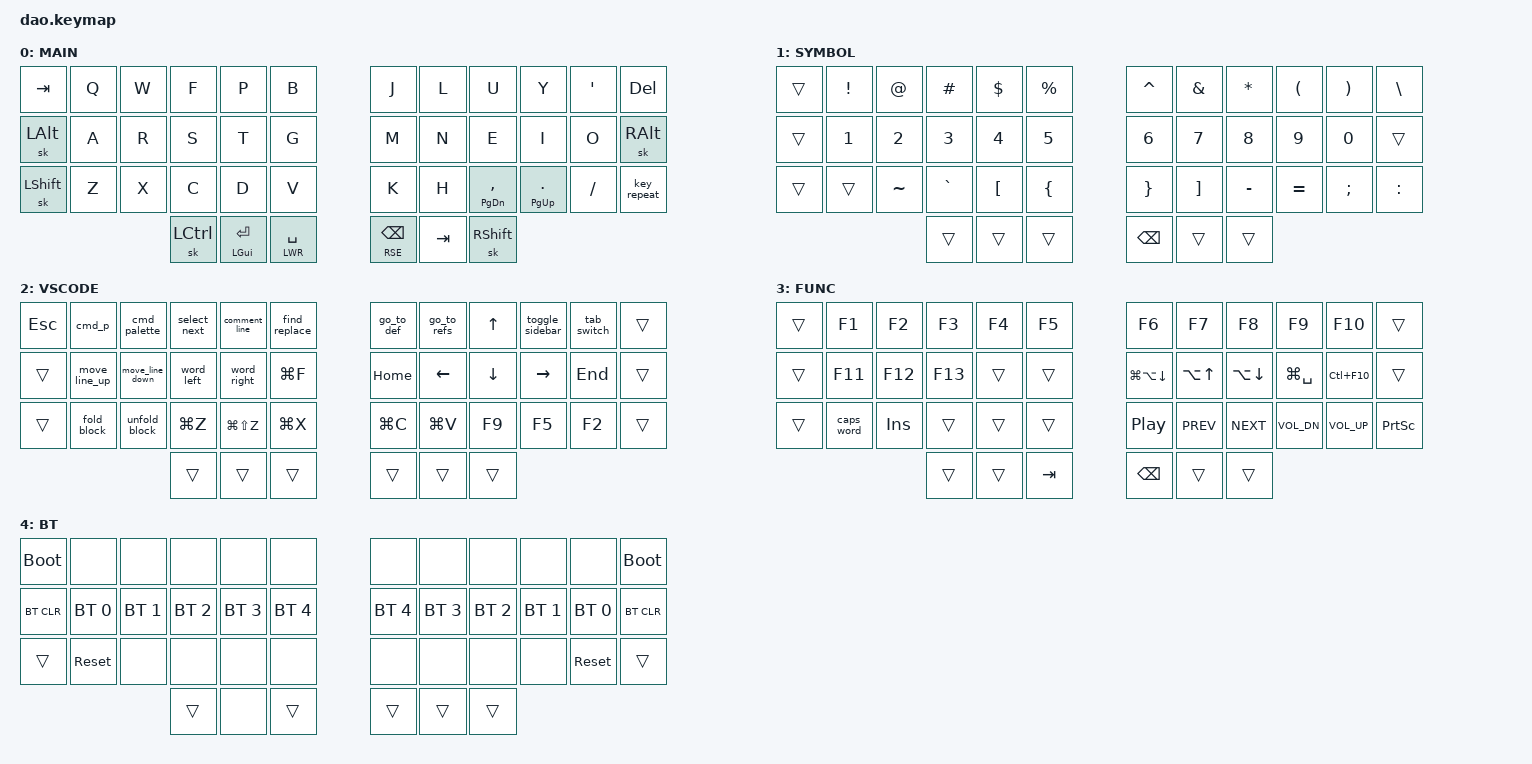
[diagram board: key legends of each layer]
/*
 * Copyright (c) 2021 Rafael Yumagulov
 * Enhanced by Claude Code
 *
 * SPDX-License-Identifier: MIT
 */

#include <behaviors.dtsi>
#include <dt-bindings/zmk/bt.h>
#include <dt-bindings/zmk/keys.h>

#define DEF 0
#define LWR 1
#define RSE 2
#define FUN 3
#define BTL 4

// IMPROVEMENTS MADE:
// 1. Added combos for frequently used keys (Esc, Caps Word, BTL access)
// 2. Fixed number keys (changed from KP_NUMBER to regular numbers)
// 3. Added caps_word instead of CAPSLOCK for better typing
// 4. Added key_repeat for efficiency
// 5. Improved layer access with combo for BTL layer
// 6. Optimized timing for better feel
// 7. Added smart parenthesis matching combo

// Optimized timing for better responsiveness
&lt {
    quick_tap_ms = <200>;
    tapping_term_ms = <200>;
    flavor = "balanced";
};

&mt {
    quick_tap_ms = <200>;
    tapping_term_ms = <200>;
    flavor = "balanced";
};

// Longer release for sticky behaviors
&sl { release-after-ms = <1000>; };
&sk { release-after-ms = <1000>; };

/ {
    chosen { zmk,matrix_transform = &default_transform; };

    // ============= BEHAVIORS =============

    behaviors {
        // Home row mod-tap with better timing
        hm: homerow_mods {
            compatible = "zmk,behavior-hold-tap";
            label = "HOMEROW_MODS";
            #binding-cells = <2>;
            tapping-term-ms = <200>;
            quick-tap-ms = <175>;
            require-prior-idle-ms = <150>;
            flavor = "balanced";
            bindings = <&kp>, <&kp>;
        };
    };

    // ============= COMBOS =============

    combos {
        compatible = "zmk,combos";

        // ESC combo (Q+W) - Very common, easy to reach
        combo_esc {
            timeout-ms = <50>;
            key-positions = <1 2>;
            bindings = <&kp ESC>;
            layers = <DEF>;
        };

        // Caps Word combo (A+S) - Better than CAPSLOCK
        combo_caps_word {
            timeout-ms = <50>;
            key-positions = <13 14>;
            bindings = <&caps_word>;
            layers = <DEF>;
        };

        // BTL layer access (both thumb outer keys)
        combo_btl {
            timeout-ms = <50>;
            key-positions = <36 41>;
            bindings = <&mo BTL>;
            layers = <DEF LWR RSE>;
        };

        // Screenshot (Cmd+Shift+4) - useful on macOS
        combo_screenshot {
            timeout-ms = <50>;
            key-positions = <3 4>;
            bindings = <&kp LG(LS(N4))>;
            layers = <DEF>;
        };

        // Quick Tab (F+P)
        combo_tab {
            timeout-ms = <50>;
            key-positions = <3 4>;
            bindings = <&kp TAB>;
            layers = <RSE>;
        };
    };

    // ============= MACROS =============

    macros {
        // File navigation
        cmd_p: cmd_p {
            label = "Cmd+P";
            compatible = "zmk,behavior-macro";
            #binding-cells = <0>;
            bindings = <&kp LG(P)>;
        };

        cmd_palette: cmd_palette {
            label = "Cmd+Shift+P";
            compatible = "zmk,behavior-macro";
            #binding-cells = <0>;
            bindings = <&kp LG(LS(P))>;
        };

        // Text selection and editing
        select_next: select_next {
            label = "Cmd+D";
            compatible = "zmk,behavior-macro";
            #binding-cells = <0>;
            bindings = <&kp LG(D)>;
        };

        comment_line: comment_line {
            label = "Cmd+/";
            compatible = "zmk,behavior-macro";
            #binding-cells = <0>;
            bindings = <&kp LG(SLASH)>;
        };

        // Line movement
        move_line_up: move_line_up {
            label = "Option+Up";
            compatible = "zmk,behavior-macro";
            #binding-cells = <0>;
            bindings = <&kp LA(UP)>;
        };

        move_line_down: move_line_down {
            label = "Option+Down";
            compatible = "zmk,behavior-macro";
            #binding-cells = <0>;
            bindings = <&kp LA(DOWN)>;
        };

        // Word navigation (macOS uses Option)
        word_left: word_left {
            label = "Option+Left";
            compatible = "zmk,behavior-macro";
            #binding-cells = <0>;
            bindings = <&kp LA(LEFT)>;
        };

        word_right: word_right {
            label = "Option+Right";
            compatible = "zmk,behavior-macro";
            #binding-cells = <0>;
            bindings = <&kp LA(RIGHT)>;
        };

        // Code folding
        fold_block: fold_block {
            label = "Cmd+Option+[";
            compatible = "zmk,behavior-macro";
            #binding-cells = <0>;
            bindings = <&kp LG(LA(LBKT))>;
        };

        unfold_block: unfold_block {
            label = "Cmd+Option+]";
            compatible = "zmk,behavior-macro";
            #binding-cells = <0>;
            bindings = <&kp LG(LA(RBKT))>;
        };

        // Find and replace
        find_replace: find_replace {
            label = "Cmd+Option+F";
            compatible = "zmk,behavior-macro";
            #binding-cells = <0>;
            bindings = <&kp LG(LA(F))>;
        };

        // Go to definition
        go_to_def: go_to_def {
            label = "F12";
            compatible = "zmk,behavior-macro";
            #binding-cells = <0>;
            bindings = <&kp F12>;
        };

        // Go to references
        go_to_refs: go_to_refs {
            label = "Shift+F12";
            compatible = "zmk,behavior-macro";
            #binding-cells = <0>;
            bindings = <&kp LS(F12)>;
        };

        // Toggle sidebar
        toggle_sidebar: toggle_sidebar {
            label = "Cmd+B";
            compatible = "zmk,behavior-macro";
            #binding-cells = <0>;
            bindings = <&kp LG(B)>;
        };

        // File tab switching
        tab_switch: tab_switch {
            label = "Ctrl+Tab";
            compatible = "zmk,behavior-macro";
            #binding-cells = <0>;
            bindings = <&kp LC(TAB)>;
        };
    };

    // ============= CONDITIONAL LAYERS =============

    conditional_layers {
        compatible = "zmk,conditional-layers";

        // FUN layer activates when both LWR and RSE are held
        combo_fun {
            if-layers = <LWR RSE>;
            then-layer = <FUN>;
        };
    };

    // ============= KEYMAP =============

    keymap {
        compatible = "zmk,keymap";

        default_layer {
            label = "MAIN";
            bindings = <
// ╭─────────────┬─────────┬─────────┬─────────────┬─────────────────┬──────────╮   ╭──────────────────┬─────────┬──────────────────┬───────────────────┬───────────────────┬────────────╮
    &kp TAB       &kp Q     &kp W     &kp F         &kp P             &kp B            &kp J              &kp L     &kp U              &kp Y               &kp SINGLE_QUOTE    &kp DELETE
// ├─────────────┼─────────┼─────────┼─────────────┼─────────────────┼──────────┤   ├──────────────────┼─────────┼──────────────────┼───────────────────┼───────────────────┼────────────┤
    &sk LEFT_ALT  &kp A     &kp R     &kp S         &kp T             &kp G            &kp M              &kp N     &kp E              &kp I               &kp O               &sk RIGHT_ALT
// ├─────────────┼─────────┼─────────┼─────────────┼─────────────────┼──────────┤   ├──────────────────┼─────────┼──────────────────┼───────────────────┼───────────────────┼────────────┤
    &sk LSHFT     &kp Z     &kp X     &kp C         &kp D             &kp V            &kp K              &kp H     &mt PG_DN COMMA    &mt PG_UP PERIOD    &kp SLASH           &key_repeat
// ╰─────────────┴─────────┴─────────┼─────────────┼─────────────────┼──────────┤   ├──────────────────┼─────────┼──────────────────┼───────────────────┴───────────────────┴────────────╯
                                      &sk LCTRL     &mt LGUI ENTER    &lt LWR SPACE    &lt RSE BACKSPACE  &kp TAB   &sk RSHFT
//                                   ╰─────────────┴─────────────────┴──────────╯   ╰──────────────────┴─────────┴──────────────────╯
            >;
        };

        lower_layer {
            label = "SYMBOL";
            bindings = <
// ╭───────┬──────────┬──────────┬──────────┬──────────┬──────────╮   ╭────────────┬────────────┬──────────┬──────────────┬────────────────┬───────────╮
    &trans  &kp EXCL   &kp AT     &kp HASH   &kp DLLR   &kp PRCNT      &kp CARET    &kp AMPS     &kp STAR   &kp LPAR       &kp RPAR         &kp BSLH
// ├───────┼──────────┼──────────┼──────────┼──────────┼──────────┤   ├────────────┼────────────┼──────────┼──────────────┼────────────────┼───────────┤
    &trans  &kp N1     &kp N2     &kp N3     &kp N4     &kp N5         &kp N6       &kp N7       &kp N8     &kp N9         &kp N0           &trans
// ├───────┼──────────┼──────────┼──────────┼──────────┼──────────┤   ├────────────┼────────────┼──────────┼──────────────┼────────────────┼───────────┤
    &trans  &trans     &kp TILDE  &kp GRAVE  &kp LBKT   &kp LBRC       &kp RBRC     &kp RBKT     &kp MINUS  &kp EQUAL      &kp SEMI         &kp COLON
// ╰───────┴──────────┴──────────┼──────────┼──────────┼──────────┤   ├────────────┼────────────┼──────────┼──────────────┴────────────────┴───────────╯
                                  &trans     &trans     &trans         &kp BSPC     &trans       &trans
//                               ╰──────────┴──────────┴──────────╯   ╰────────────┴────────────┴──────────╯
            >;
        };

        raise_layer {
            label = "VSCODE";
            bindings = <
// ╭────────┬──────────────┬─────────────────┬─────────────┬──────────────┬──────────────╮   ╭────────────┬────────────┬──────┬─────────────────┬─────────────┬────────╮
    &kp ESC  &cmd_p         &cmd_palette      &select_next  &comment_line  &find_replace      &go_to_def   &go_to_refs  &kp UP &toggle_sidebar   &tab_switch   &trans
// ├────────┼──────────────┼─────────────────┼─────────────┼──────────────┼──────────────┤   ├────────────┼────────────┼──────┼─────────────────┼─────────────┼────────┤
    &trans   &move_line_up  &move_line_down   &word_left    &word_right    &kp LG(F)          &kp HOME     &kp LEFT     &kp DOWN &kp RIGHT         &kp END       &trans
// ├────────┼──────────────┼─────────────────┼─────────────┼──────────────┼──────────────┤   ├────────────┼────────────┼──────┼─────────────────┼─────────────┼────────┤
    &trans   &fold_block    &unfold_block     &kp LG(Z)     &kp LG(LS(Z))  &kp LG(X)          &kp LG(C)    &kp LG(V)    &kp F9 &kp F5            &kp F2        &trans
// ╰────────┴──────────────┴─────────────────┼─────────────┼──────────────┼──────────────┤   ├────────────┼────────────┼──────┼─────────────────┴─────────────┴────────╯
                                              &trans        &trans         &trans             &trans       &trans       &trans
//                                           ╰─────────────┴──────────────┴──────────────╯   ╰────────────┴────────────┴──────╯
            >;
        };

        function_layer {
            label = "FUNC";
            bindings = <
// ╭────────┬──────────┬─────────┬───────┬────────┬────────╮   ╭────────────────┬────────────────┬──────────────────┬──────────────────┬─────────────────┬─────────────╮
    &trans  &kp F1     &kp F2    &kp F3  &kp F4   &kp F5       &kp F6           &kp F7           &kp F8             &kp F9             &kp F10           &trans
// ├────────┼──────────┼─────────┼───────┼────────┼────────┤   ├────────────────┼────────────────┼──────────────────┼──────────────────┼─────────────────┼─────────────┤
    &trans  &kp F11    &kp F12   &kp F13 &trans   &trans       &kp LG(LA(DOWN)) &kp LA(UP)       &kp LA(DOWN)       &kp LG(SPACE)      &kp LC(F10)       &trans
// ├────────┼──────────┼─────────┼───────┼────────┼────────┤   ├────────────────┼────────────────┼──────────────────┼──────────────────┼─────────────────┼─────────────┤
    &trans  &caps_word &kp INS   &trans  &trans   &trans       &kp C_PP         &kp C_PREV       &kp C_NEXT         &kp C_VOL_DN       &kp C_VOL_UP      &kp PSCRN
// ╰────────┴──────────┴─────────┼───────┼────────┼────────┤   ├────────────────┼────────────────┼──────────────────┼──────────────────┴─────────────────┴─────────────╯
                                  &trans  &trans   &kp TAB      &kp BSPC         &trans           &trans
//                               ╰───────┴────────┴────────╯   ╰────────────────┴────────────────┴──────────────────╯
            >;
        };

        bt_layer {
            label = "BT";
            bindings = <
// ╭────────────┬────────────┬────────────┬────────────┬────────────┬────────────╮   ╭────────────┬────────────┬────────────┬────────────┬────────────┬────────────╮
    &bootloader  &none        &none        &none        &none        &none            &none        &none        &none        &none        &none        &bootloader
// ├────────────┼────────────┼────────────┼────────────┼────────────┼────────────┤   ├────────────┼────────────┼────────────┼────────────┼────────────┼────────────┤
    &bt BT_CLR   &bt BT_SEL 0 &bt BT_SEL 1 &bt BT_SEL 2 &bt BT_SEL 3 &bt BT_SEL 4     &bt BT_SEL 4 &bt BT_SEL 3 &bt BT_SEL 2 &bt BT_SEL 1 &bt BT_SEL 0 &bt BT_CLR
// ├────────────┼────────────┼────────────┼────────────┼────────────┼────────────┤   ├────────────┼────────────┼────────────┼────────────┼────────────┼────────────┤
    &trans       &sys_reset   &none        &none        &none        &none            &none        &none        &none        &none        &sys_reset   &trans
// ╰────────────┴────────────┴────────────┼────────────┼────────────┼────────────┤   ├────────────┼────────────┼────────────┼────────────┴────────────┴────────────╯
                                           &trans       &none        &trans           &trans       &trans       &trans
//                                        ╰────────────┴────────────┴────────────╯   ╰────────────┴────────────┴────────────╯
            >;
        };
    };
};
